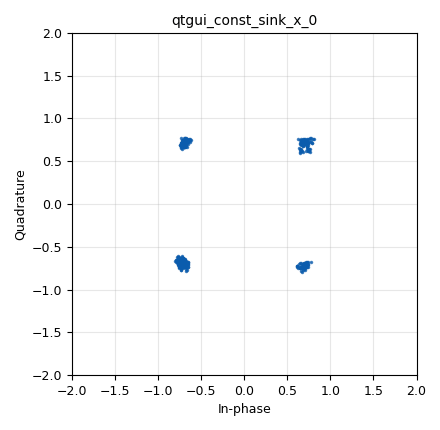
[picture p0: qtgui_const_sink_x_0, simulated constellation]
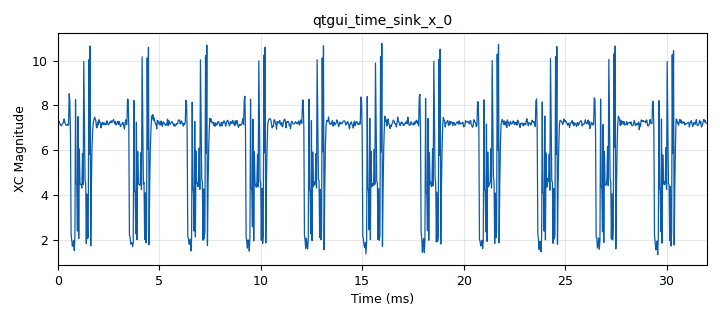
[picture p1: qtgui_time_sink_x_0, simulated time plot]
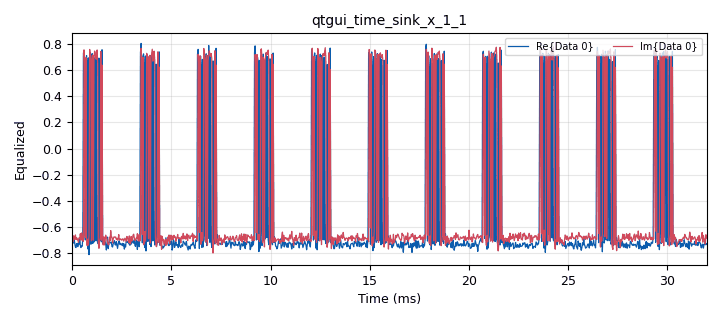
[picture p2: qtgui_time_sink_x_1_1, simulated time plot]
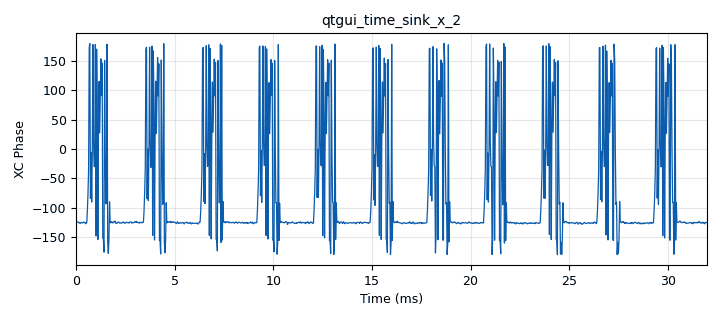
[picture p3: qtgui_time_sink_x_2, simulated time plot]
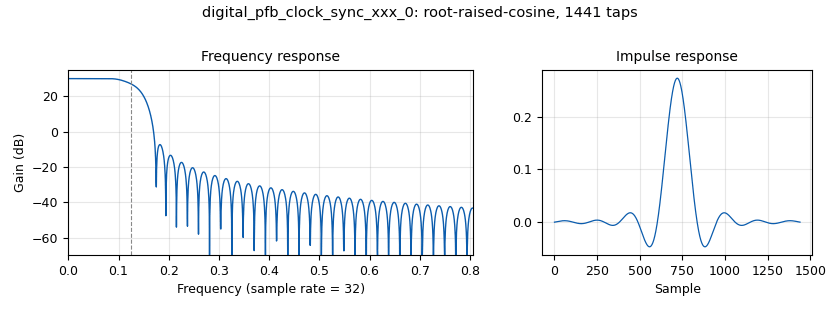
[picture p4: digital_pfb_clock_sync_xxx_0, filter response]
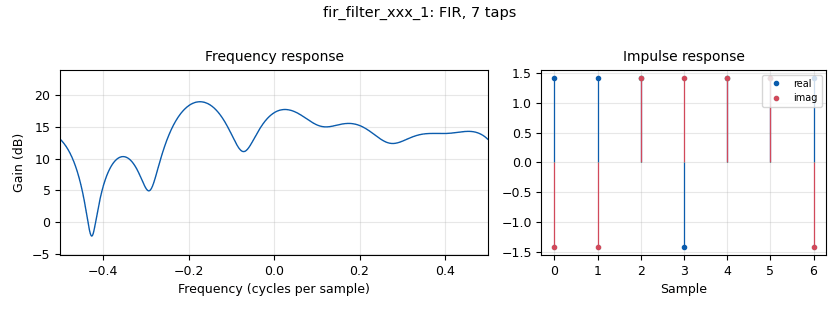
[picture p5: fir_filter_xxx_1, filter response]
options:
  parameters:
    author: Naoki Pross
    generate_options: qt_gui
    id: correlator
    output_language: python
    title: Correlator Test
  states: {}

blocks:
- name: access_code_symbols_sps
  id: variable
  parameters:
    value: '[(1.4142197+1.4142197j), (1.4142197+1.4142197j), (1.4142197+1.4142197j), (1.4142197+1.4142197j), (1.4142197-1.4142197j), (1.4142197-1.4142197j), (1.4142197-1.4142197j), (1.4142197-1.4142197j), (1.4142197-1.4142197j), (1.4142197-1.4142197j), (1.4142197-1.4142197j), (1.4142197-1.4142197j), (-1.4142197-1.4142197j), (-1.4142197-1.4142197j), (-1.4142197-1.4142197j), (-1.4142197-1.4142197j), (1.4142197-1.4142197j), (1.4142197-1.4142197j), (1.4142197-1.4142197j), (1.4142197-1.4142197j), (1.4142197+1.4142197j), (1.4142197+1.4142197j), (1.4142197+1.4142197j), (1.4142197+1.4142197j), (1.4142197+1.4142197j), (1.4142197+1.4142197j), (1.4142197+1.4142197j), (1.4142197+1.4142197j)]'
  states: {}
- name: const
  id: variable_constellation
  parameters:
    precision: '8'
    type: qpsk
  states: {}
- name: excess_bw
  id: variable
  parameters:
    value: '.35'
  states: {}
- name: nfilts
  id: variable
  parameters:
    value: '32'
  states: {}
- name: revconj_access_code_symbols
  id: variable
  parameters:
    value: '[(1.4142197-1.4142197j), (1.4142197-1.4142197j), (1.4142197+1.4142197j), (-1.4142197+1.4142197j), (1.4142197+1.4142197j), (1.4142197+1.4142197j), (1.4142197-1.4142197j)]'
  states: {}
- name: rrc_taps
  id: variable
  parameters:
    value: firdes.root_raised_cosine(nfilts, nfilts, 1.0/float(sps), excess_bw, 45*nfilts)
  states: {}
- name: samp_rate
  id: variable
  parameters:
    value: '32000'
  states: {}
- name: sps
  id: variable
  parameters:
    value: '4'
  states: {}
- name: testvec
  id: variable
  parameters:
    value: '[31, 53] + [0x12, 0xe3, 0x9b, 0xee, 0x84, 0x23]'
  states: {}
- name: timing_loop_bw
  id: variable
  parameters:
    value: 2 * 3.141592653589793 / 100
  states: {}
- name: blocks_complex_to_magphase_0
  id: blocks_complex_to_magphase
  parameters: {}
  states: {}
- name: blocks_complex_to_magphase_0_0
  id: blocks_complex_to_magphase
  parameters: {}
  states: {state: disabled}
- name: blocks_multiply_const_vxx_0
  id: blocks_multiply_const_vxx
  parameters:
    const: 180 / 3.141592653589793
    type: float
  states: {}
- name: blocks_null_sink_0
  id: blocks_null_sink
  parameters:
    type: byte
  states: {}
- name: blocks_null_sink_0_0
  id: blocks_null_sink
  parameters:
    type: complex
  states: {state: disabled}
- name: blocks_null_sink_1_0
  id: blocks_null_sink
  parameters:
    type: float
  states: {state: disabled}
- name: blocks_null_sink_1_0_0
  id: blocks_null_sink
  parameters:
    type: float
  states: {state: disabled}
- name: blocks_null_source_0
  id: blocks_null_source
  parameters:
    type: byte
  states: {}
- name: blocks_stream_mux_0
  id: blocks_stream_mux
  parameters:
    lengths: '[15, len(testvec)]'
    type: byte
  states: {}
- name: blocks_stream_mux_1
  id: blocks_stream_mux
  parameters:
    lengths: '[len(access_code_symbols_sps), sps * (len(testvec) + 15)]'
    type: complex
  states: {state: disabled}
- name: blocks_throttle_0
  id: blocks_throttle
  parameters:
    samples_per_second: samp_rate
    type: complex
  states: {}
- name: blocks_vector_source_x_0
  id: blocks_vector_source_x
  parameters:
    repeat: 'True'
    type: byte
    vector: testvec
  states: {}
- name: blocks_vector_source_x_1
  id: blocks_vector_source_x
  parameters:
    repeat: 'True'
    type: complex
    vector: access_code_symbols_sps
  states: {state: disabled}
- name: channels_channel_model_0
  id: channels_channel_model
  parameters:
    epsilon: '1.0'
    freq_offset: '0.0'
    noise_voltage: '0.1'
    seed: '243'
    taps: '1. '
  states: {}
- name: digital_cma_equalizer_cc_0
  id: digital_cma_equalizer_cc
  parameters:
    modulus: '1'
    mu: '.002'
    num_taps: '15'
    sps: '1'
  states: {}
- name: digital_constellation_decoder_cb_0
  id: digital_constellation_decoder_cb
  parameters:
    constellation: const
  states: {}
- name: digital_constellation_modulator_0
  id: digital_constellation_modulator
  parameters:
    constellation: const
    differential: 'False'
    excess_bw: excess_bw
    samples_per_symbol: sps
  states: {}
- name: digital_corr_est_cc_0
  id: digital_corr_est_cc
  parameters:
    mark_delay: '0'
    sps: '1'
    symbols: '[(1.4142197+1.4142197j), (1.4142197-1.4142197j), (1.4142197-1.4142197j), (-1.4142197-1.4142197j), (1.4142197-1.4142197j), (1.4142197+1.4142197j), (1.4142197+1.4142197j)]'
    threshold: '.9'
    threshold_method: digital.THRESHOLD_DYNAMIC
  states: {state: disabled}
- name: digital_pfb_clock_sync_xxx_0
  id: digital_pfb_clock_sync_xxx
  parameters:
    filter_size: nfilts
    init_phase: '16'
    loop_bw: timing_loop_bw
    max_dev: '1.5'
    osps: '1'
    sps: sps
    taps: rrc_taps
    type: ccf
  states: {}
- name: fir_filter_xxx_1
  id: fir_filter_xxx
  parameters:
    decim: '1'
    taps: revconj_access_code_symbols
    type: ccc
  states: {}
- name: qtgui_const_sink_x_0
  id: qtgui_const_sink_x
  parameters:
    size: '1024'
    type: complex
  states: {}
- name: qtgui_time_sink_x_0
  id: qtgui_time_sink_x
  parameters:
    autoscale: 'True'
    gui_hint: 2,0,1,1
    size: '1024'
    srate: samp_rate
    type: float
    ylabel: XC Magnitude
    ymax: '100'
    ymin: '0'
  states: {}
- name: qtgui_time_sink_x_0_0
  id: qtgui_time_sink_x
  parameters:
    autoscale: 'True'
    gui_hint: 2,0,1,1
    size: '1024'
    srate: samp_rate
    type: float
    ylabel: Cross Correlation Magnitude
    ymax: '100'
    ymin: '0'
  states: {state: disabled}
- name: qtgui_time_sink_x_1_0
  id: qtgui_time_sink_x
  parameters:
    autoscale: 'True'
    gui_hint: 0,0,1,1
    size: '1024'
    srate: samp_rate
    type: complex
    ylabel: Modulated
    ymax: '2'
    ymin: '-2'
  states: {state: disabled}
- name: qtgui_time_sink_x_1_1
  id: qtgui_time_sink_x
  parameters:
    autoscale: 'True'
    gui_hint: 1,0,1,1
    size: '1024'
    srate: samp_rate
    type: complex
    ylabel: Equalized
    ymax: '2'
    ymin: '-2'
  states: {}
- name: qtgui_time_sink_x_2
  id: qtgui_time_sink_x
  parameters:
    autoscale: 'True'
    gui_hint: 3,0,1,1
    size: '1024'
    srate: samp_rate
    type: float
    ylabel: XC Phase
  states: {}
- name: root_raised_cosine_filter_0
  id: root_raised_cosine_filter
  parameters:
    alpha: excess_bw
    decim: '1'
    gain: '2'
    ntaps: 11*samp_rate
    samp_rate: samp_rate
    sym_rate: '1'
    type: fir_filter_ccf
  states: {state: disabled}
- name: virtual_sink_0
  id: virtual_sink
  parameters:
    stream_id: envelope
  states: {}
- name: virtual_source_0
  id: virtual_source
  parameters:
    stream_id: envelope
  states: {}

connections:
- [blocks_complex_to_magphase_0, '0', qtgui_time_sink_x_0, '0']
- [blocks_complex_to_magphase_0, '1', blocks_multiply_const_vxx_0, '0']
- [blocks_complex_to_magphase_0, '1', blocks_null_sink_1_0_0, '0']
- [blocks_complex_to_magphase_0_0, '0', qtgui_time_sink_x_0_0, '0']
- [blocks_complex_to_magphase_0_0, '1', blocks_null_sink_1_0, '0']
- [blocks_multiply_const_vxx_0, '0', qtgui_time_sink_x_2, '0']
- [blocks_null_source_0, '0', blocks_stream_mux_0, '0']
- [blocks_stream_mux_0, '0', digital_constellation_modulator_0, '0']
- [blocks_stream_mux_1, '0', channels_channel_model_0, '0']
- [blocks_stream_mux_1, '0', qtgui_time_sink_x_1_0, '0']
- [blocks_throttle_0, '0', virtual_sink_0, '0']
- [blocks_vector_source_x_0, '0', blocks_stream_mux_0, '1']
- [blocks_vector_source_x_1, '0', root_raised_cosine_filter_0, '0']
- [channels_channel_model_0, '0', blocks_throttle_0, '0']
- [digital_cma_equalizer_cc_0, '0', digital_constellation_decoder_cb_0, '0']
- [digital_cma_equalizer_cc_0, '0', digital_corr_est_cc_0, '0']
- [digital_cma_equalizer_cc_0, '0', fir_filter_xxx_1, '0']
- [digital_cma_equalizer_cc_0, '0', qtgui_const_sink_x_0, '0']
- [digital_cma_equalizer_cc_0, '0', qtgui_time_sink_x_1_1, '0']
- [digital_constellation_decoder_cb_0, '0', blocks_null_sink_0, '0']
- [digital_constellation_modulator_0, '0', blocks_stream_mux_1, '1']
- [digital_constellation_modulator_0, '0', channels_channel_model_0, '0']
- [digital_corr_est_cc_0, '0', blocks_null_sink_0_0, '0']
- [digital_corr_est_cc_0, '1', blocks_complex_to_magphase_0_0, '0']
- [digital_pfb_clock_sync_xxx_0, '0', digital_cma_equalizer_cc_0, '0']
- [fir_filter_xxx_1, '0', blocks_complex_to_magphase_0, '0']
- [root_raised_cosine_filter_0, '0', blocks_stream_mux_1, '0']
- [virtual_source_0, '0', digital_pfb_clock_sync_xxx_0, '0']

metadata:
  file_format: 1
